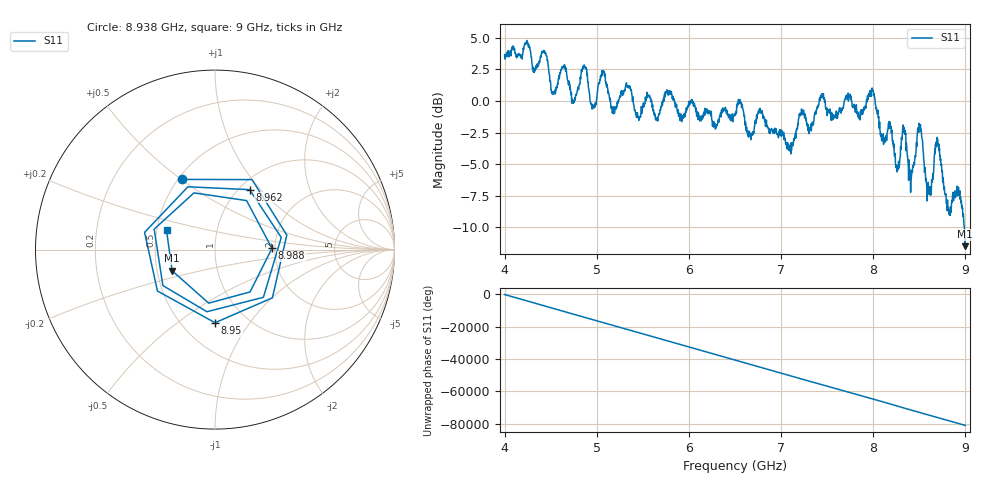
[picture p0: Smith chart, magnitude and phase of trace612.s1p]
! Created with skrf 1.8.0 (http://scikit-rf.org).
# Hz S RI R 50.0
!freq ReS11 ImS11
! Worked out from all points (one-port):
!   1601 points, 4 GHz to 9 GHz, reference 50 ohm
!   lowest |S11| = -11.5 dB at 8.997 GHz (marker M1), VSWR 1.73, Z = 30 - j7.61 ohm
!   |S11| at or under -10 dB: 8.988306 GHz to end of sweep
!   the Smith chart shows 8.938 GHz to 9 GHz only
!   S11 on the Smith chart (normalised r, x): 8.938 GHz: 0.52, +0.50; 8.95 GHz: 0.72, -0.70; 8.962 GHz: 1.12, +0.88; 8.988 GHz: 1.93, +0.03; 9 GHz: 0.56, +0.13
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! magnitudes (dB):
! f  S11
! 4 GHz  3.6
! 4.431 GHz  3.9
! 4.528 GHz  0.7
! 4.625 GHz  2.7
! 4.744 GHz  -0.2
! 4.866 GHz  2.8
! 4.956 GHz  -0.4
! 5.066 GHz  2.3
! 5.25 GHz  0.3
! 5.875 GHz  -0.9
! 6.5 GHz  -1.1
! 7.125 GHz  -3.4
! 7.441 GHz  0.5
! 7.75 GHz  0.5
! 7.991 GHz  0.8
! 8.256 GHz  -5.5
! 8.328 GHz  -2.3
! 8.375 GHz  -4.6
! 8.503 GHz  -1.9
! 8.603 GHz  -6.8
! 8.694 GHz  -2.9
! 8.819 GHz  -8.6
! 8.938 GHz  -7.3
! 8.95 GHz  -7.8
! 8.962 GHz  -8.3
! 8.988 GHz  -10.0
! 8.997 GHz  -11.5
! 9 GHz  -10.7
